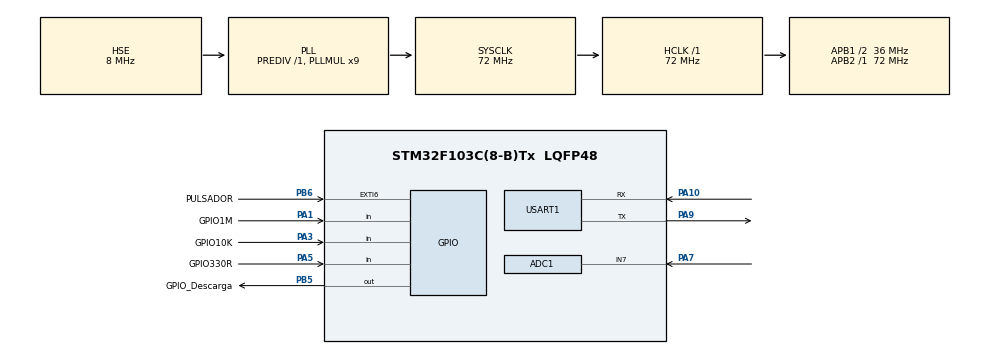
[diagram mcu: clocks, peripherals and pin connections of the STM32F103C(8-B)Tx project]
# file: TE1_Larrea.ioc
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ADC1.Channel-0\#ChannelRegularConversion=ADC_CHANNEL_7
ADC1.ExternalTrigConv=ADC_EXTERNALTRIGCONV_T3_TRGO
ADC1.NbrOfConversionFlag=1
ADC1.Rank-0\#ChannelRegularConversion=1
ADC1.SamplingTime-0\#ChannelRegularConversion=ADC_SAMPLETIME_239CYCLES_5
ADC1.master=1
Mcu.Family=STM32F1
Mcu.Name=STM32F103C(8-B)Tx
Mcu.Package=LQFP48
NVIC.ADC1_2_IRQn=true\:0\:0\:false\:false\:true\:true\:true\:true
NVIC.EXTI9_5_IRQn=true\:0\:0\:false\:false\:true\:true\:true\:true
NVIC.PriorityGroup=NVIC_PRIORITYGROUP_4
NVIC.TIM3_IRQn=true\:0\:0\:false\:false\:true\:true\:true\:true
NVIC.USART1_IRQn=true\:0\:0\:false\:false\:true\:true\:true\:true
PA1.GPIO_Label=GPIO1M
PA1.Signal=GPIO_Input
PA10.Mode=Asynchronous
PA10.Signal=USART1_RX
PA13.Mode=Serial_Wire
PA13.Signal=SYS_JTMS-SWDIO
PA14.Mode=Serial_Wire
PA14.Signal=SYS_JTCK-SWCLK
PA3.GPIO_Label=GPIO10K
PA3.Signal=GPIO_Input
PA5.GPIO_Label=GPIO330R
PA5.Signal=GPIO_Input
PA7.Signal=ADCx_IN7
PA9.Mode=Asynchronous
PA9.Signal=USART1_TX
PB5.GPIO_Label=GPIO_Descarga
PB5.Signal=GPIO_Output
PB6.GPIO_Label=PULSADOR
PB6.GPIO_ModeDefaultEXTI=GPIO_MODE_IT_RISING_FALLING
PB6.GPIO_PuPd=GPIO_PULLUP
PB6.Signal=GPXTI6
PD0-OSC_IN.Mode=HSE-External-Oscillator
PD0-OSC_IN.Signal=RCC_OSC_IN
PD1-OSC_OUT.Mode=HSE-External-Oscillator
PD1-OSC_OUT.Signal=RCC_OSC_OUT
ProjectManager.HeapSize=0x200
ProjectManager.StackSize=0x400
ProjectManager.TargetToolchain=STM32CubeIDE
RCC.ADCPresc=RCC_ADCPCLK2_DIV6
RCC.AHBFreq_Value=72000000
RCC.APB1CLKDivider=RCC_HCLK_DIV2
RCC.APB1Freq_Value=36000000
RCC.APB1TimFreq_Value=72000000
RCC.APB2Freq_Value=72000000
RCC.APB2TimFreq_Value=72000000
RCC.HCLKFreq_Value=72000000
RCC.PLLMUL=RCC_PLL_MUL9
RCC.PLLSourceVirtual=RCC_PLLSOURCE_HSE
RCC.SYSCLKFreq_VALUE=72000000
RCC.SYSCLKSource=RCC_SYSCLKSOURCE_PLLCLK
RCC.USBFreq_Value=72000000
SH.ADCx_IN7.0=ADC1_IN7,IN7
TIM3.Period=999
TIM3.Prescaler=71
TIM3.TIM_MasterOutputTrigger=TIM_TRGO_UPDATE
USART1.VirtualMode=VM_ASYNC
VP_TIM3_VS_ClockSourceINT.Mode=Internal
board=custom

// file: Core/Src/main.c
/* USER CODE BEGIN Header */
/**
 ******************************************************************************
 * @file           : main.c
 * @brief          : Main program body
 ******************************************************************************
 * @attention
 *
 * Copyright (c) 2026 STMicroelectronics.
 * All rights reserved.
 *
 * This software is licensed under terms that can be found in the LICENSE file
 * in the root directory of this software component.
 * If no LICENSE file comes with this software, it is provided AS-IS.
 *
 ******************************************************************************
 */
/* USER CODE END Header */
#include "main.h"

/* USER CODE BEGIN Includes */
#include "IU_cfg.h"
#include "DUT.h"
#include "ANTR.h"

/*-------------------------------------------------------------

	NOMENCLATURA DE PREFIJOS:

	IU: función/variable declarada en el header de IU.h, librería de la interfaz de usuario.
	DUT: función/variable declarada en el header DUT.h, librería del DUT.
	ANTR: función/variable declarada en el header ANTR.h, librería antirrebote.
	Sin prefijo: función/variable local de este .c

-------------------------------------------------------------*/

/* USER CODE END Includes */

ADC_HandleTypeDef hadc1;

TIM_HandleTypeDef htim3;

UART_HandleTypeDef huart1;

/* USER CODE BEGIN PV */
ANTR_Pulsador pulsador;
/* USER CODE END PV */

void SystemClock_Config(void);
static void MX_GPIO_Init(void);
static void MX_ADC1_Init(void);
static void MX_TIM3_Init(void);
static void MX_USART1_UART_Init(void);

/* USER CODE BEGIN 0 */

// flags de la IU
volatile uint8_t flag_IU = 1; // Flag que indica cuando se genera la interrupción del pulsador para mostrar la interfaz
volatile uint8_t flag_IU_iniciar = 1; // Flag para ejecutar al inicio del llamado a la interfaz
volatile uint8_t flag_IU_detener = 0; // Flag para detener la interfaz con el pulsador

// flags del DUT
volatile uint8_t flag_medida = 0; // Flag que indica cuando se genera la interrupción del pulsador para iniciar el DUT
volatile uint8_t flag_medida_iniciar = 0; // Flag para ejecutar al inicio del llamado al DUT
volatile uint8_t flag_medida_detener = 0; // Flag para detener el DUT con el pulsador

void HAL_GPIO_EXTI_Callback(uint16_t GPIO_Pin) { // ISR del pulsador en PB6
	if (GPIO_Pin == PULSADOR_Pin) {
		ANTR_Flanco(&pulsador); // Se avisa a la librería antirrebote que llega un primer flanco
	}
}

/* USER CODE END 0 */

int main(void)
{

	/* USER CODE BEGIN 1 */
	ANTR_iniciar(&pulsador, PULSADOR_GPIO_Port, PULSADOR_Pin, ANTR_PULLUP);
	/* USER CODE END 1 */

	/* MCU Configuration--------------------------------------------------------*/

	/* Reset of all peripherals, Initializes the Flash interface and the Systick. */
	HAL_Init();

	/* Configure the system clock */
	SystemClock_Config();

	/* Initialize all configured peripherals */
	MX_GPIO_Init();
	MX_ADC1_Init();
	MX_TIM3_Init();
	MX_USART1_UART_Init();
	/* USER CODE BEGIN 2 */
	ANTR_Boton evento = ANTR_Procesar(&pulsador);
	/* USER CODE END 2 */

	/* Infinite loop */
	while (1)
	{

		/* USER CODE BEGIN 3 */
		evento = ANTR_Procesar(&pulsador);

		if (evento == ANTR_PRESIONADO) {
			if (flag_IU == 0) {
				// sale de medición -> entra al menú
				flag_IU = 1;
				flag_IU_iniciar = 1;

				flag_medida = 0;
				flag_medida_detener = 1;
			} else {
				// sale del menú -> entra a medición
				flag_IU = 0;
				flag_IU_detener = 1;

				flag_medida = 1;
				flag_medida_iniciar = 1;
			}
		}

		// --- BLOQUE DE EJECUCIÓN INTERFAZ ---
		if (flag_IU == 1) {
			if (flag_IU_iniciar == 1) {
				flag_IU_iniciar = 0;
				IU_iniciar();
			}
			IU_menu();
		} else {

			if (flag_IU_detener == 1) {
				flag_IU_detener = 0;
				IU_Detener();
			}
		}

		// --- BLOQUE DE EJECUCIÓN MEDIDA ---
		if (flag_medida == 1) {

			if (flag_medida_iniciar == 1) {
				flag_medida_iniciar = 0;
				DUT_Iniciar();
			}

			DUT_Medir();

		} else {
			if (flag_medida_detener == 1) {
				flag_medida_detener = 0;
				DUT_Detener();
			}
		}

	}
	/* USER CODE END 3 */
}

void SystemClock_Config(void)
{
	RCC_OscInitTypeDef RCC_OscInitStruct = {0};
	RCC_ClkInitTypeDef RCC_ClkInitStruct = {0};
	RCC_PeriphCLKInitTypeDef PeriphClkInit = {0};

	/** Initializes the RCC Oscillators according to the specified parameters
	 * in the RCC_OscInitTypeDef structure.
	 */
	RCC_OscInitStruct.OscillatorType = RCC_OSCILLATORTYPE_HSE;
	RCC_OscInitStruct.HSEState = RCC_HSE_ON;
	RCC_OscInitStruct.HSEPredivValue = RCC_HSE_PREDIV_DIV1;
	RCC_OscInitStruct.HSIState = RCC_HSI_ON;
	RCC_OscInitStruct.PLL.PLLState = RCC_PLL_ON;
	RCC_OscInitStruct.PLL.PLLSource = RCC_PLLSOURCE_HSE;
	RCC_OscInitStruct.PLL.PLLMUL = RCC_PLL_MUL9;
	if (HAL_RCC_OscConfig(&RCC_OscInitStruct) != HAL_OK)
	{
		Error_Handler();
	}

	/** Initializes the CPU, AHB and APB buses clocks
	 */
	RCC_ClkInitStruct.ClockType = RCC_CLOCKTYPE_HCLK|RCC_CLOCKTYPE_SYSCLK
			|RCC_CLOCKTYPE_PCLK1|RCC_CLOCKTYPE_PCLK2;
	RCC_ClkInitStruct.SYSCLKSource = RCC_SYSCLKSOURCE_PLLCLK;
	RCC_ClkInitStruct.AHBCLKDivider = RCC_SYSCLK_DIV1;
	RCC_ClkInitStruct.APB1CLKDivider = RCC_HCLK_DIV2;
	RCC_ClkInitStruct.APB2CLKDivider = RCC_HCLK_DIV1;

	if (HAL_RCC_ClockConfig(&RCC_ClkInitStruct, FLASH_LATENCY_2) != HAL_OK)
	{
		Error_Handler();
	}
	PeriphClkInit.PeriphClockSelection = RCC_PERIPHCLK_ADC;
	PeriphClkInit.AdcClockSelection = RCC_ADCPCLK2_DIV6;
	if (HAL_RCCEx_PeriphCLKConfig(&PeriphClkInit) != HAL_OK)
	{
		Error_Handler();
	}
}

static void MX_ADC1_Init(void)
{

	ADC_ChannelConfTypeDef sConfig = {0};

	/** Common config
	 */
	hadc1.Instance = ADC1;
	hadc1.Init.ScanConvMode = ADC_SCAN_DISABLE;
	hadc1.Init.ContinuousConvMode = DISABLE;
	hadc1.Init.DiscontinuousConvMode = DISABLE;
	hadc1.Init.ExternalTrigConv = ADC_EXTERNALTRIGCONV_T3_TRGO;
	hadc1.Init.DataAlign = ADC_DATAALIGN_RIGHT;
	hadc1.Init.NbrOfConversion = 1;
	if (HAL_ADC_Init(&hadc1) != HAL_OK)
	{
		Error_Handler();
	}

	/** Configure Regular Channel
	 */
	sConfig.Channel = ADC_CHANNEL_7;
	sConfig.Rank = ADC_REGULAR_RANK_1;
	sConfig.SamplingTime = ADC_SAMPLETIME_239CYCLES_5;
	if (HAL_ADC_ConfigChannel(&hadc1, &sConfig) != HAL_OK)
	{
		Error_Handler();
	}

}

static void MX_TIM3_Init(void)
{

	TIM_ClockConfigTypeDef sClockSourceConfig = {0};
	TIM_MasterConfigTypeDef sMasterConfig = {0};

	htim3.Instance = TIM3;
	htim3.Init.Prescaler = 71;
	htim3.Init.CounterMode = TIM_COUNTERMODE_UP;
	htim3.Init.Period = 999;
	htim3.Init.ClockDivision = TIM_CLOCKDIVISION_DIV1;
	htim3.Init.AutoReloadPreload = TIM_AUTORELOAD_PRELOAD_DISABLE;
	if (HAL_TIM_Base_Init(&htim3) != HAL_OK)
	{
		Error_Handler();
	}
	sClockSourceConfig.ClockSource = TIM_CLOCKSOURCE_INTERNAL;
	if (HAL_TIM_ConfigClockSource(&htim3, &sClockSourceConfig) != HAL_OK)
	{
		Error_Handler();
	}
	sMasterConfig.MasterOutputTrigger = TIM_TRGO_UPDATE;
	sMasterConfig.MasterSlaveMode = TIM_MASTERSLAVEMODE_DISABLE;
	if (HAL_TIMEx_MasterConfigSynchronization(&htim3, &sMasterConfig) != HAL_OK)
	{
		Error_Handler();
	}

}

static void MX_USART1_UART_Init(void)
{

	huart1.Instance = USART1;
	huart1.Init.BaudRate = 115200;
	huart1.Init.WordLength = UART_WORDLENGTH_8B;
	huart1.Init.StopBits = UART_STOPBITS_1;
	huart1.Init.Parity = UART_PARITY_NONE;
	huart1.Init.Mode = UART_MODE_TX_RX;
	huart1.Init.HwFlowCtl = UART_HWCONTROL_NONE;
	huart1.Init.OverSampling = UART_OVERSAMPLING_16;
	if (HAL_UART_Init(&huart1) != HAL_OK)
	{
		Error_Handler();
	}

}

static void MX_GPIO_Init(void)
{
	GPIO_InitTypeDef GPIO_InitStruct = {0};

	/* GPIO Ports Clock Enable */
	__HAL_RCC_GPIOD_CLK_ENABLE();
	__HAL_RCC_GPIOA_CLK_ENABLE();
	__HAL_RCC_GPIOB_CLK_ENABLE();

	/*Configure GPIO pin Output Level */
	HAL_GPIO_WritePin(GPIO_Descarga_GPIO_Port, GPIO_Descarga_Pin, GPIO_PIN_RESET);

	/*Configure GPIO pins : GPIO1M_Pin GPIO10K_Pin GPIO330R_Pin */
	GPIO_InitStruct.Pin = GPIO1M_Pin|GPIO10K_Pin|GPIO330R_Pin;
	GPIO_InitStruct.Mode = GPIO_MODE_INPUT;
	GPIO_InitStruct.Pull = GPIO_NOPULL;
	HAL_GPIO_Init(GPIOA, &GPIO_InitStruct);

	/*Configure GPIO pin : GPIO_Descarga_Pin */
	GPIO_InitStruct.Pin = GPIO_Descarga_Pin;
	GPIO_InitStruct.Mode = GPIO_MODE_OUTPUT_PP;
	GPIO_InitStruct.Pull = GPIO_NOPULL;
	GPIO_InitStruct.Speed = GPIO_SPEED_FREQ_LOW;
	HAL_GPIO_Init(GPIO_Descarga_GPIO_Port, &GPIO_InitStruct);

	/*Configure GPIO pin : PULSADOR_Pin */
	GPIO_InitStruct.Pin = PULSADOR_Pin;
	GPIO_InitStruct.Mode = GPIO_MODE_IT_RISING_FALLING;
	GPIO_InitStruct.Pull = GPIO_PULLUP;
	HAL_GPIO_Init(PULSADOR_GPIO_Port, &GPIO_InitStruct);

	/* EXTI interrupt init*/
	HAL_NVIC_SetPriority(EXTI9_5_IRQn, 0, 0);
	HAL_NVIC_EnableIRQ(EXTI9_5_IRQn);

}

void Error_Handler(void)
{
	__disable_irq();
	while (1)
	{
	}
}
